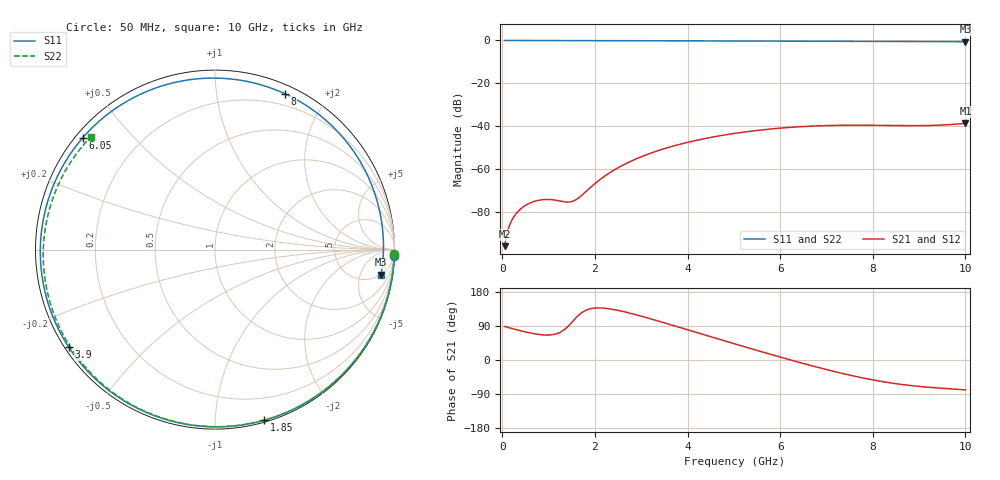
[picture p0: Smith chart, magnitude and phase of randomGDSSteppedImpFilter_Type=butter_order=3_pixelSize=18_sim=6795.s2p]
! freq	dB(S11)	phase(S11)	dB(S12)	phase(S12)
!  dB(S21)	phase(S21)	dB(S22)	phase(S22)
!S-par simulation data
#  GHz  S  DB  R 50
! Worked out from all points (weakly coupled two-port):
!   200 points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, 50 MHz to 10 GHz, reference 50 ohm
!   highest |S21| = -38.72 dB at 10 GHz (marker M1); lowest = -96.1 dB at 50 MHz (marker M2)
!   lowest |S11| = -0.6 dB at 10 GHz (marker M3), VSWR 30.10, Z = 245 - j554 ohm
!   |S11| at or under -10 dB: nowhere
!   |S22| runs from -0.6 to 0.0 dB; largest |S21 - S12| = 0
!   S11 on the Smith chart (normalised r, x): 50 MHz: 0, -55; 1.85 GHz: 0.01, -1.33; 3.9 GHz: 0.01, -0.30; 6.05 GHz: 0.02, +0.37; 8 GHz: 0.08, +1.54; 10 GHz: 5, -11
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0.05  -0.00 -2.1  -96.08 88.3  -96.08 88.3  -0.00 -1.4
0.3  -0.02 -12.4  -80.85 80.2  -80.85 80.2  -0.01 -8.1
0.55  -0.03 -22.6  -76.42 72.8  -76.42 72.8  -0.02 -14.9
0.8  -0.04 -32.8  -74.59 67.3  -74.59 67.3  -0.03 -21.6
1.45  -0.07 -58.5  -75.46 92.5  -75.46 92.5  -0.05 -38.7
1.6  -0.08 -64.3  -74.27 112.4  -74.27 112.4  -0.05 -42.5
1.75  -0.09 -70.1  -71.68 127.5  -71.68 127.5  -0.06 -46.4
1.85  -0.09 -73.9  -69.71 133.3  -69.71 133.3  -0.06 -48.9
2.15  -0.10 -85.0  -64.31 137.3  -64.31 137.3  -0.07 -56.4
2.5  -0.12 -97.8  -59.45 130.9  -59.45 130.9  -0.08 -65.0
3.4  -0.16 -129.3  -51.21 101.7  -51.21 101.7  -0.11 -86.2
3.9  -0.18 -146.3  -48.13 83.5  -48.13 83.5  -0.13 -97.4
4.5  -0.21 -166.5  -45.29 61.5  -45.29 61.5  -0.15 -110.3
5.05  -0.24 174.8  -43.30 41.4  -43.30 41.4  -0.18 -121.8
5.55  -0.28 157.6  -41.91 23.5  -41.91 23.5  -0.20 -132.0
6.05  -0.31 139.9  -40.86 6.0  -40.86 6.0  -0.24 -141.9
6.7  -0.35 116.0  -39.98 -15.8  -39.98 -15.8  -0.28 -154.7
7.35  -0.39 91.3  -39.60 -35.7  -39.60 -35.7  -0.33 -167.4
8  -0.43 66.0  -39.62 -52.5  -39.62 -52.5  -0.39 179.7
8.35  -0.45 52.3  -39.71 -59.8  -39.71 -59.8  -0.42 172.7
9.2  -0.50 19.9  -39.72 -71.9  -39.72 -71.9  -0.50 155.2
10  -0.58 -8.6  -38.72 -78.8  -38.72 -78.8  -0.59 137.9
